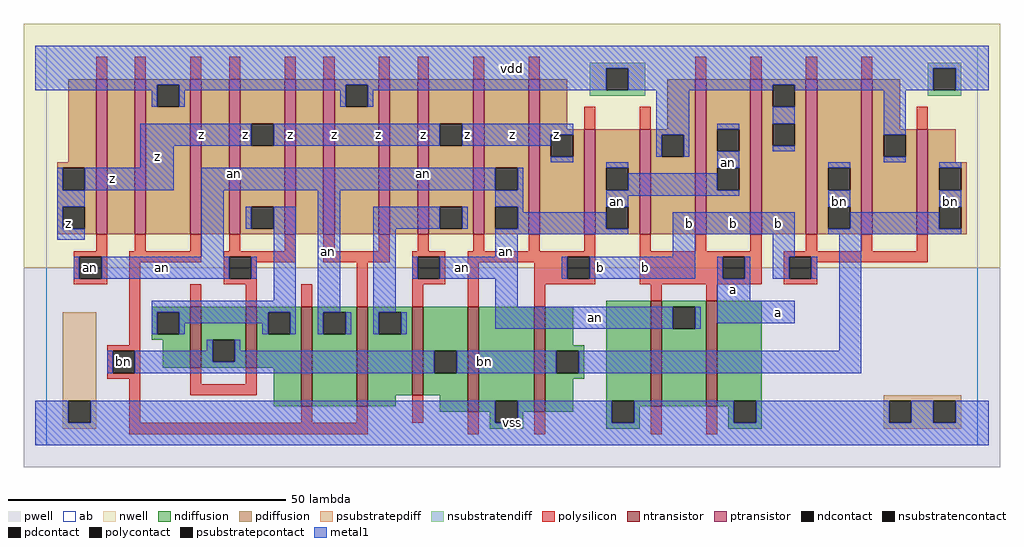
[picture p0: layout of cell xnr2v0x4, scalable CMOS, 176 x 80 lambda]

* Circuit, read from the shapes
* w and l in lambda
.subckt xnr2v0x4 a an b bn vdd vss z
M1 bn an z vss nfet w=11 l=2 m=2
M2 an bn z vss nfet w=18 l=2 m=2
M3 bn an z vss nfet w=16 l=2
M4 vss b bn vss nfet w=19 l=2 m=2
M5 an a vss vss nfet w=19 l=2 m=2
M6 n1 an z vdd pfet w=28 l=2
M7 vdd bn n1 vdd pfet w=28 l=2
M8 n2 bn vdd vdd pfet w=28 l=2
M9 z an n2 vdd pfet w=28 l=2
M10 n3 an z vdd pfet w=28 l=2
M11 vdd bn n3 vdd pfet w=28 l=2
M12 n4 bn vdd vdd pfet w=28 l=2
M13 z an n4 vdd pfet w=28 l=2
M14 an b z vdd pfet w=28 l=2 m=2
M15 an b z vdd pfet w=19 l=2
M16 vdd a an vdd pfet w=19 l=2
M17 an a vdd vdd pfet w=28 l=2 m=2
M18 bn b vdd vdd pfet w=28 l=2 m=2
M19 bn b vdd vdd pfet w=19 l=2
.ends

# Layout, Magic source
magic
tech scmos
<< ab >>
rect 0 0 168 72
<< pwell >>
rect -4 -4 172 32
<< nwell >>
rect -4 32 172 76
<< polysilicon >>
rect 9 66 11 70
rect 16 66 18 70
rect 26 66 28 70
rect 33 66 35 70
rect 43 66 45 70
rect 50 66 52 70
rect 60 66 62 70
rect 67 66 69 70
rect 77 66 79 70
rect 87 66 89 70
rect 117 66 119 70
rect 127 66 129 70
rect 137 66 139 70
rect 147 66 149 70
rect 97 57 99 61
rect 107 57 109 61
rect 157 57 159 61
rect 9 35 11 38
rect 16 35 18 38
rect 26 35 28 38
rect 33 35 35 38
rect 43 35 45 38
rect 5 34 11 35
rect 5 30 6 34
rect 10 30 11 34
rect 5 29 11 30
rect 15 33 28 35
rect 32 34 45 35
rect 15 18 17 33
rect 32 30 33 34
rect 37 33 45 34
rect 50 35 52 38
rect 60 35 62 38
rect 67 35 69 38
rect 77 35 79 38
rect 87 35 89 38
rect 97 35 99 38
rect 50 33 62 35
rect 66 34 72 35
rect 37 30 38 33
rect 32 29 38 30
rect 26 25 28 29
rect 36 25 38 29
rect 46 25 48 29
rect 56 25 58 33
rect 66 30 67 34
rect 71 30 72 34
rect 66 29 72 30
rect 76 34 99 35
rect 76 33 94 34
rect 66 25 68 29
rect 76 25 78 33
rect 88 30 94 33
rect 98 30 99 34
rect 88 29 99 30
rect 107 35 109 38
rect 117 35 119 38
rect 127 35 129 38
rect 137 35 139 38
rect 147 35 149 38
rect 157 35 159 38
rect 107 34 129 35
rect 107 30 122 34
rect 126 30 129 34
rect 107 29 129 30
rect 133 34 159 35
rect 133 30 134 34
rect 138 33 159 34
rect 138 30 139 33
rect 133 29 139 30
rect 88 25 90 29
rect 109 26 111 29
rect 119 26 121 29
rect 11 17 17 18
rect 11 13 12 17
rect 16 13 17 17
rect 11 12 17 13
rect 15 4 17 12
rect 26 11 28 14
rect 36 11 38 14
rect 26 9 38 11
rect 46 4 48 7
rect 56 4 58 7
rect 66 4 68 9
rect 15 2 58 4
rect 76 2 78 6
rect 88 2 90 6
rect 109 2 111 7
rect 119 2 121 7
<< ndiffusion >>
rect 19 24 26 25
rect 19 20 20 24
rect 24 20 26 24
rect 19 19 26 20
rect 21 14 26 19
rect 28 19 36 25
rect 28 15 30 19
rect 34 15 36 19
rect 28 14 36 15
rect 38 24 46 25
rect 38 20 40 24
rect 44 20 46 24
rect 38 14 46 20
rect 41 7 46 14
rect 48 24 56 25
rect 48 20 50 24
rect 54 20 56 24
rect 48 7 56 20
rect 58 24 66 25
rect 58 20 60 24
rect 64 20 66 24
rect 58 9 66 20
rect 68 17 76 25
rect 68 13 70 17
rect 74 13 76 17
rect 68 9 76 13
rect 58 7 63 9
rect 71 6 76 9
rect 78 8 88 25
rect 78 6 81 8
rect 80 4 81 6
rect 85 6 88 8
rect 90 18 95 25
rect 90 17 97 18
rect 90 13 92 17
rect 96 13 97 17
rect 90 12 97 13
rect 90 6 95 12
rect 101 8 109 26
rect 85 4 86 6
rect 80 3 86 4
rect 101 4 102 8
rect 106 7 109 8
rect 111 25 119 26
rect 111 21 113 25
rect 117 21 119 25
rect 111 7 119 21
rect 121 8 129 26
rect 121 7 124 8
rect 106 4 107 7
rect 101 3 107 4
rect 123 4 124 7
rect 128 4 129 8
rect 123 3 129 4
<< pdiffusion >>
rect 4 51 9 66
rect 2 50 9 51
rect 2 46 3 50
rect 7 46 9 50
rect 2 43 9 46
rect 2 39 3 43
rect 7 39 9 43
rect 2 38 9 39
rect 11 38 16 66
rect 18 65 26 66
rect 18 61 20 65
rect 24 61 26 65
rect 18 38 26 61
rect 28 38 33 66
rect 35 58 43 66
rect 35 54 37 58
rect 41 54 43 58
rect 35 43 43 54
rect 35 39 37 43
rect 41 39 43 43
rect 35 38 43 39
rect 45 38 50 66
rect 52 65 60 66
rect 52 61 54 65
rect 58 61 60 65
rect 52 38 60 61
rect 62 38 67 66
rect 69 58 77 66
rect 69 54 71 58
rect 75 54 77 58
rect 69 43 77 54
rect 69 39 71 43
rect 75 39 77 43
rect 69 38 77 39
rect 79 50 87 66
rect 79 46 81 50
rect 85 46 87 50
rect 79 43 87 46
rect 79 39 81 43
rect 85 39 87 43
rect 79 38 87 39
rect 89 57 94 66
rect 112 57 117 66
rect 89 56 97 57
rect 89 52 91 56
rect 95 52 97 56
rect 89 38 97 52
rect 99 50 107 57
rect 99 46 101 50
rect 105 46 107 50
rect 99 43 107 46
rect 99 39 101 43
rect 105 39 107 43
rect 99 38 107 39
rect 109 56 117 57
rect 109 52 111 56
rect 115 52 117 56
rect 109 38 117 52
rect 119 57 127 66
rect 119 53 121 57
rect 125 53 127 57
rect 119 50 127 53
rect 119 46 121 50
rect 125 46 127 50
rect 119 38 127 46
rect 129 65 137 66
rect 129 61 131 65
rect 135 61 137 65
rect 129 58 137 61
rect 129 54 131 58
rect 135 54 137 58
rect 129 38 137 54
rect 139 50 147 66
rect 139 46 141 50
rect 145 46 147 50
rect 139 43 147 46
rect 139 39 141 43
rect 145 39 147 43
rect 139 38 147 39
rect 149 57 154 66
rect 149 56 157 57
rect 149 52 151 56
rect 155 52 157 56
rect 149 38 157 52
rect 159 51 164 57
rect 159 50 166 51
rect 159 46 161 50
rect 165 46 166 50
rect 159 43 166 46
rect 159 39 161 43
rect 165 39 166 43
rect 159 38 166 39
<< metal1 >>
rect -2 68 170 72
rect -2 65 101 68
rect -2 64 20 65
rect 19 61 20 64
rect 24 64 54 65
rect 24 61 25 64
rect 53 61 54 64
rect 58 64 101 65
rect 105 65 160 68
rect 105 64 131 65
rect 58 61 59 64
rect 17 54 37 58
rect 41 54 71 58
rect 75 56 95 58
rect 75 54 91 56
rect 17 50 23 54
rect 110 56 116 64
rect 135 64 160 65
rect 164 64 170 68
rect 131 58 135 61
rect 110 52 111 56
rect 115 52 116 56
rect 121 57 125 58
rect 131 53 135 54
rect 151 56 155 64
rect 91 51 95 52
rect 101 50 105 51
rect 2 46 3 50
rect 7 46 23 50
rect 28 46 81 50
rect 85 46 86 50
rect 2 43 7 46
rect 2 39 3 43
rect 2 37 7 39
rect 28 34 32 46
rect 36 39 37 43
rect 5 30 6 34
rect 10 30 33 34
rect 37 30 38 34
rect 41 26 45 43
rect 19 24 45 26
rect 19 20 20 24
rect 24 22 40 24
rect 24 20 25 22
rect 39 20 40 22
rect 44 20 45 24
rect 49 24 53 46
rect 81 43 86 46
rect 59 39 71 43
rect 75 39 76 43
rect 85 42 86 43
rect 121 50 125 53
rect 151 51 155 52
rect 105 46 121 49
rect 101 45 125 46
rect 141 50 145 51
rect 101 43 105 45
rect 85 39 101 42
rect 141 43 145 46
rect 59 24 63 39
rect 81 38 105 39
rect 113 38 135 42
rect 161 50 165 51
rect 161 43 165 46
rect 145 39 161 42
rect 141 38 165 39
rect 81 34 85 38
rect 113 34 117 38
rect 131 34 135 38
rect 66 30 67 34
rect 71 30 85 34
rect 93 30 94 34
rect 98 30 117 34
rect 121 30 122 34
rect 126 30 127 34
rect 131 30 134 34
rect 138 30 139 34
rect 81 25 85 30
rect 121 26 127 30
rect 49 20 50 24
rect 54 20 55 24
rect 59 20 60 24
rect 64 20 65 24
rect 81 21 113 25
rect 117 21 118 25
rect 121 22 135 26
rect 29 17 30 19
rect 11 13 12 17
rect 16 15 30 17
rect 34 17 35 19
rect 143 17 147 38
rect 34 15 70 17
rect 16 13 70 15
rect 74 13 92 17
rect 96 13 147 17
rect -2 4 4 8
rect 8 4 81 8
rect 85 4 102 8
rect 106 4 124 8
rect 128 4 152 8
rect 156 4 160 8
rect 164 4 170 8
rect -2 0 170 4
<< ntransistor >>
rect 26 14 28 25
rect 36 14 38 25
rect 46 7 48 25
rect 56 7 58 25
rect 66 9 68 25
rect 76 6 78 25
rect 88 6 90 25
rect 109 7 111 26
rect 119 7 121 26
<< ptransistor >>
rect 9 38 11 66
rect 16 38 18 66
rect 26 38 28 66
rect 33 38 35 66
rect 43 38 45 66
rect 50 38 52 66
rect 60 38 62 66
rect 67 38 69 66
rect 77 38 79 66
rect 87 38 89 66
rect 97 38 99 57
rect 107 38 109 57
rect 117 38 119 66
rect 127 38 129 66
rect 137 38 139 66
rect 147 38 149 66
rect 157 38 159 57
<< polycontact >>
rect 6 30 10 34
rect 33 30 37 34
rect 67 30 71 34
rect 94 30 98 34
rect 122 30 126 34
rect 134 30 138 34
rect 12 13 16 17
<< ndcontact >>
rect 20 20 24 24
rect 30 15 34 19
rect 40 20 44 24
rect 50 20 54 24
rect 60 20 64 24
rect 70 13 74 17
rect 81 4 85 8
rect 92 13 96 17
rect 102 4 106 8
rect 113 21 117 25
rect 124 4 128 8
<< pdcontact >>
rect 3 46 7 50
rect 3 39 7 43
rect 20 61 24 65
rect 37 54 41 58
rect 37 39 41 43
rect 54 61 58 65
rect 71 54 75 58
rect 71 39 75 43
rect 81 46 85 50
rect 81 39 85 43
rect 91 52 95 56
rect 101 46 105 50
rect 101 39 105 43
rect 111 52 115 56
rect 121 53 125 57
rect 121 46 125 50
rect 131 61 135 65
rect 131 54 135 58
rect 141 46 145 50
rect 141 39 145 43
rect 151 52 155 56
rect 161 46 165 50
rect 161 39 165 43
<< psubstratepcontact >>
rect 4 4 8 8
rect 152 4 156 8
rect 160 4 164 8
<< nsubstratencontact >>
rect 101 64 105 68
rect 160 64 164 68
<< psubstratepdiff >>
rect 3 8 9 24
rect 3 4 4 8
rect 8 4 9 8
rect 3 3 9 4
rect 151 8 165 9
rect 151 4 152 8
rect 156 4 160 8
rect 164 4 165 8
rect 151 3 165 4
<< nsubstratendiff >>
rect 98 68 108 69
rect 98 64 101 68
rect 105 64 108 68
rect 159 68 165 69
rect 98 63 108 64
rect 159 64 160 68
rect 164 64 165 68
rect 159 63 165 64
<< labels >>
rlabel polycontact 14 15 14 15 6 bn
rlabel polycontact 8 32 8 32 6 an
rlabel ptransistor 34 49 34 49 6 an
rlabel ptransistor 68 49 68 49 6 an
rlabel pdcontact 4 40 4 40 6 z
rlabel metal1 20 52 20 52 6 z
rlabel metal1 12 48 12 48 6 z
rlabel metal1 28 56 28 56 6 z
rlabel metal1 21 32 21 32 6 an
rlabel metal1 51 35 51 35 6 an
rlabel metal1 60 56 60 56 6 z
rlabel metal1 52 56 52 56 6 z
rlabel metal1 44 56 44 56 6 z
rlabel metal1 36 56 36 56 6 z
rlabel metal1 84 4 84 4 6 vss
rlabel metal1 75 32 75 32 6 an
rlabel metal1 83 35 83 35 6 an
rlabel metal1 92 56 92 56 6 z
rlabel metal1 84 56 84 56 6 z
rlabel metal1 76 56 76 56 6 z
rlabel metal1 68 56 68 56 6 z
rlabel metal1 84 68 84 68 6 vdd
rlabel metal1 99 23 99 23 6 an
rlabel metal1 132 24 132 24 6 a
rlabel metal1 124 28 124 28 6 a
rlabel metal1 108 32 108 32 6 b
rlabel metal1 100 32 100 32 6 b
rlabel metal1 132 40 132 40 6 b
rlabel metal1 124 40 124 40 6 b
rlabel metal1 116 40 116 40 6 b
rlabel metal1 103 44 103 44 6 an
rlabel metal1 123 51 123 51 6 an
rlabel metal1 79 15 79 15 6 bn
rlabel metal1 163 44 163 44 6 bn
rlabel metal1 143 44 143 44 6 bn
<< end >>
